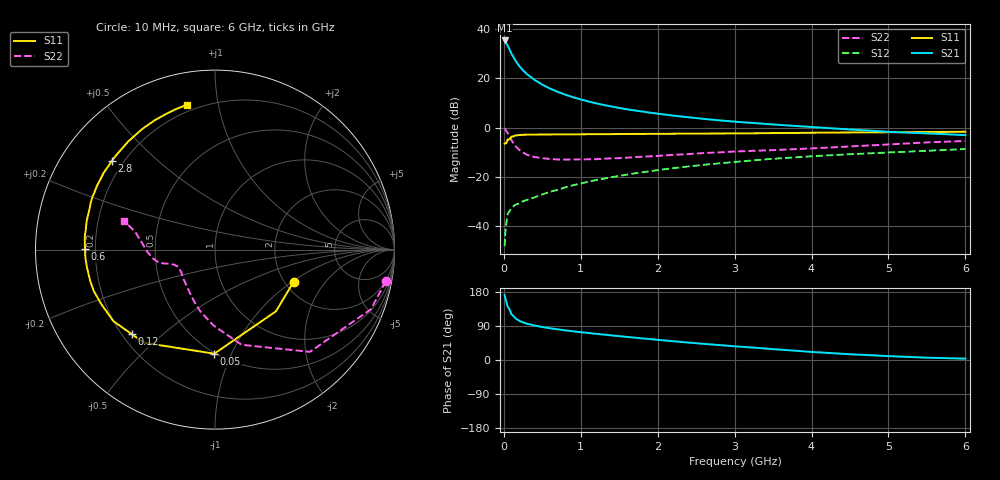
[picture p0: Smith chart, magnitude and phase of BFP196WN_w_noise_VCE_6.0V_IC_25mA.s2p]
! Infineon Technologies  Discrete & RF Semiconductors
! BFP196WN
! VCE =  6.0 V,  IC =  25 mA
! Common Emitter S-Parameters:  Jan 2017
# GHz  S  MA  R  50
!  f  S11  S21  S12  S22
! GHz  MAG  ANG  MAG  ANG  MAG  ANG  MAG  ANG
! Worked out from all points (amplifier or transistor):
!   77 points, 10 MHz to 6 GHz, reference 50 ohm
!   highest |S21| = 35.2 dB at 10 MHz (marker M1)
!   |S21| within 3 dB of that: start of sweep to 64.87 MHz
!   unconditionally stable (mu >= 1): 858.5 MHz to 2.692 GHz
!   at 130 MHz: K = 0.36, MSG = 30.0 dB, |S12| = -31.7 dB
!   at 2.2 GHz: K = 1.03, MAG = 9.6 dB, |S12| = -16.4 dB
!   at 6 GHz: K = 0.89, MSG = 2.8 dB, |S12| = -8.7 dB
!   lowest NFmin = 1.00 dB at 450 MHz
!   S11 on the Smith chart (normalised r, x): 10 MHz: 2.23, -1.03; 50 MHz: 0.49, -0.86; 120 MHz: 0.24, -0.40; 600 MHz: 0.16, +0.00; 2.8 GHz: 0.16, +0.36; 6 GHz: 0.16, +0.81
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0.01  0.4732 -22.2  57.55 171.6  0.004 82.2  0.9678 -10.5
0.02  0.4833 -45.3  54.53 162.0  0.0077 78.4  0.9305 -20.9
0.05  0.5801 -90.4  45.56 140.7  0.0177 58.5  0.7776 -47.1
0.1  0.6527 -127.4  30.89 120.5  0.0237 46.6  0.5504 -74.4
0.12  0.6611 -134.6  27.48 117.1  0.0252 44.9  0.4942 -80.1
0.15  0.6923 -144.8  22.62 110.0  0.0275 42.6  0.4219 -91.3
0.2  0.703 -154.6  17.53 103.5  0.0293 42.6  0.3537 -103.4
0.25  0.7135 -161.0  14.28 99.1  0.0325 43.5  0.3121 -111.8
0.3  0.717 -165.7  12.02 95.8  0.0343 45.5  0.282 -119.2
0.4  0.7203 -172.1  9.142 90.7  0.0389 50.0  0.2537 -129.4
0.5  0.7237 -176.7  7.34 87.0  0.0445 52.9  0.2399 -137.0
0.6  0.7243 179.8  6.141 83.7  0.0503 55.0  0.2314 -142.4
0.7  0.7264 176.9  5.26 81.0  0.055 57.7  0.226 -146.1
0.8  0.7291 174.0  4.61 78.1  0.0621 60.1  0.2256 -148.6
1.1  0.7325 167.4  3.361 71.3  0.0803 62.1  0.228 -155.1
1.5  0.7389 160.0  2.487 62.9  0.1054 63.1  0.2409 -159.7
2.1  0.7478 150.0  1.824 51.5  0.1443 61.7  0.2739 -163.3
2.8  0.7583 139.2  1.398 39.4  0.1888 58.1  0.3143 -166.2
3.1  0.7626 134.7  1.281 34.8  0.2078 55.9  0.3318 -168.9
4.1  0.7861 119.9  1.002 20.1  0.2675 48.4  0.3852 179.9
5.1  0.805 108.9  0.807 9.4  0.3179 41.1  0.4636 166.9
6  0.8228 100.9  0.703 3.6  0.3682 35.0  0.5346 162.4
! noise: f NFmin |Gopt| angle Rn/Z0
0.45  1  0.43  174  0.05
0.9  1.15  0.51  182  0.05
1.9  2.08  0.68  210  0.13
2.4  2.83  0.69  217  0.23
